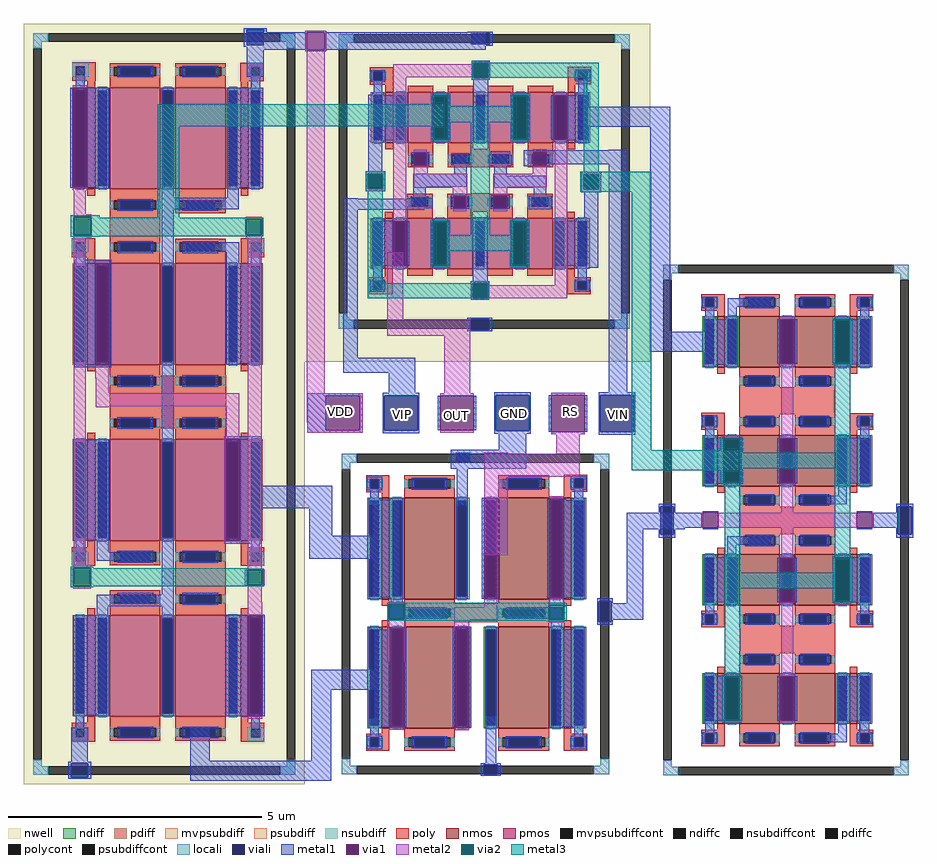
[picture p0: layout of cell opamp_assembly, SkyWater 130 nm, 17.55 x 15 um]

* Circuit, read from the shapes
.subckt opamp_assembly VDD VIP OUT GND RS VIN
XM1 PMOS_currentsource_0/D2 PMOS_currentsource_0/D2 PMOS_currentsource_0/D2 GND sky130_fd_pr__nfet_01v8 w=2 l=0.15 m=2
XM2 PMOS_currentsource_0/D1 PMOS_currentsource_0/D1 PMOS_currentsource_0/D1 GND sky130_fd_pr__nfet_01v8 w=2 l=0.15 m=2
XM3 RS PMOS_currentsource_0/D1 PMOS_currentsource_0/D2 GND sky130_fd_pr__nfet_01v8 w=2 l=1 m=2
XM4 GND PMOS_currentsource_0/D1 PMOS_currentsource_0/D1 GND sky130_fd_pr__nfet_01v8 w=2 l=1 m=2
XM5 OUT OUT OUT GND sky130_fd_pr__nfet_01v8 w=1 l=0.15 m=4
XM6 PMOS_VIN_VIP_OUT_0/D6 PMOS_VIN_VIP_OUT_0/D6 PMOS_VIN_VIP_OUT_0/D6 GND sky130_fd_pr__nfet_01v8 w=1 l=0.15 m=4
XM7 GND PMOS_VIN_VIP_OUT_0/D6 OUT GND sky130_fd_pr__nfet_01v8 w=1 l=0.8 m=4
XM8 GND PMOS_VIN_VIP_OUT_0/D6 PMOS_VIN_VIP_OUT_0/D6 GND sky130_fd_pr__nfet_01v8 w=1 l=0.8 m=4
XM9 VDD VDD VDD VDD sky130_fd_pr__pfet_01v8 w=2 l=0.15 m=2
XM10 PMOS_currentsource_0/D2 PMOS_currentsource_0/D2 PMOS_currentsource_0/D2 VDD sky130_fd_pr__pfet_01v8 w=2 l=0.15 m=2
XM11 PMOS_currentsource_0/D1 PMOS_currentsource_0/D1 PMOS_currentsource_0/D1 VDD sky130_fd_pr__pfet_01v8 w=2 l=0.15 m=2
XM12 PMOS_VIN_VIP_OUT_0/D5 PMOS_VIN_VIP_OUT_0/D5 PMOS_VIN_VIP_OUT_0/D5 VDD sky130_fd_pr__pfet_01v8 w=2 l=0.15 m=2
XM13 VDD VDD VDD VDD sky130_fd_pr__pfet_01v8 w=2 l=1 m=2
XM14 VDD PMOS_currentsource_0/D2 PMOS_currentsource_0/D2 VDD sky130_fd_pr__pfet_01v8 w=2 l=1 m=2
XM15 VDD PMOS_currentsource_0/D2 PMOS_currentsource_0/D1 VDD sky130_fd_pr__pfet_01v8 w=2 l=1 m=2
XM16 VDD PMOS_currentsource_0/D2 PMOS_VIN_VIP_OUT_0/D5 VDD sky130_fd_pr__pfet_01v8 w=2 l=1 m=2
XM17 OUT OUT OUT VDD sky130_fd_pr__pfet_01v8 w=1 l=0.15 m=2
XM18 PMOS_VIN_VIP_OUT_0/D6 PMOS_VIN_VIP_OUT_0/D6 PMOS_VIN_VIP_OUT_0/D6 VDD sky130_fd_pr__pfet_01v8 w=1 l=0.15 m=2
XM19 PMOS_VIN_VIP_OUT_0/D5 VIP OUT VDD sky130_fd_pr__pfet_01v8 w=1 l=0.5 m=4
XM20 PMOS_VIN_VIP_OUT_0/D5 VIN PMOS_VIN_VIP_OUT_0/D6 VDD sky130_fd_pr__pfet_01v8 w=1 l=0.5 m=4
.ends

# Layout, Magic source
magic
tech sky130A
magscale 1 2
<< nwell >>
rect 1080 2988 2472 2990
rect 1050 1754 2472 2988
rect 1080 1656 2472 1754
<< viali >>
rect 1422 1386 1554 1522
rect 1862 1384 1994 1524
rect 2276 1380 2408 1524
rect 2270 630 2318 712
<< metal1 >>
rect 1110 2958 1194 2964
rect 882 2888 1117 2958
rect 1187 2888 1824 2958
rect 1110 2882 1194 2888
rect 2168 2584 2552 2664
rect 2308 2492 2382 2494
rect 1974 2436 2382 2492
rect 1974 2428 2072 2436
rect 1260 2300 1318 2302
rect 1260 2256 1580 2300
rect 1260 1672 1318 2256
rect 1260 1614 1545 1672
rect 1441 1534 1545 1614
rect 2308 1536 2382 2436
rect 2472 1776 2552 2584
rect 2472 1696 2722 1776
rect 1118 1522 1338 1532
rect 1118 1386 1192 1522
rect 1326 1386 1338 1522
rect 1118 1376 1338 1386
rect 1416 1522 1560 1534
rect 1856 1524 2000 1536
rect 2270 1524 2414 1536
rect 1416 1386 1422 1522
rect 1554 1386 1560 1522
rect 1634 1386 1644 1522
rect 1776 1386 1786 1522
rect 1416 1374 1560 1386
rect 1856 1384 1862 1524
rect 1994 1384 2000 1524
rect 1856 1372 2000 1384
rect 2072 1380 2082 1524
rect 2214 1380 2224 1524
rect 2270 1380 2276 1524
rect 2408 1380 2414 1524
rect 1874 1310 1982 1372
rect 2270 1368 2414 1380
rect 1684 1234 1982 1310
rect 896 1078 1217 1168
rect 1127 969 1217 1078
rect 2379 995 2609 1061
rect 1127 879 1397 969
rect 2264 712 2324 724
rect 2264 630 2270 712
rect 2318 704 2324 712
rect 2379 704 2445 995
rect 2318 638 2445 704
rect 2318 630 2324 638
rect 2264 618 2324 630
rect 1135 363 1391 441
rect 656 81 734 216
rect 1135 81 1213 363
rect 656 3 1213 81
<< via1 >>
rect 1117 2888 1187 2958
rect 1192 1386 1326 1522
rect 1644 1386 1776 1522
rect 2082 1380 2214 1524
<< metal2 >>
rect 1110 2958 1194 2964
rect 1110 2888 1117 2958
rect 1187 2888 1194 2958
rect 1110 2882 1194 2888
rect 1117 1532 1187 2882
rect 1434 1824 1498 2090
rect 1434 1760 1762 1824
rect 1660 1532 1762 1760
rect 1117 1522 1338 1532
rect 1117 1417 1192 1522
rect 1118 1386 1192 1417
rect 1326 1386 1338 1522
rect 1118 1376 1338 1386
rect 1644 1522 1776 1532
rect 1644 1376 1776 1386
rect 2082 1524 2214 1534
rect 2082 1370 2214 1380
rect 1818 1294 1910 1298
rect 2102 1294 2194 1370
rect 1818 1202 2194 1294
rect 1818 892 1910 1202
<< metal3 >>
rect 528 2587 1655 2673
rect 528 2152 614 2587
rect 2196 2328 2477 2406
rect 2399 1307 2477 2328
rect 2399 1229 2819 1307
use NMOS_commonsourcegnd  NMOS_commonsourcegnd_0
transform 1 0 2764 0 1 137
box -258 -113 746 1903
use NMOS_RS  NMOS_RS_0
transform 1 0 1443 0 1 122
box -189 -100 867 1182
use PMOS_currentsource  PMOS_currentsource_0
transform 1 0 245 0 1 157
box -245 -167 863 2833
use PMOS_VIN_VIP_OUT  PMOS_VIN_VIP_OUT_0
transform 1 0 1377 0 1 2849
box -171 -1097 1051 137
<< labels >>
flabel via1 1250 1460 1250 1460 0 FreeSans 480 0 0 0 VDD
port 0 nsew
flabel viali 1494 1450 1494 1450 0 FreeSans 480 0 0 0 VIP
port 1 nsew
flabel via1 1708 1444 1708 1444 0 FreeSans 480 0 0 0 OUT
port 2 nsew
flabel viali 1936 1454 1936 1454 0 FreeSans 480 0 0 0 GND
port 3 nsew
flabel via1 2156 1460 2156 1460 0 FreeSans 480 0 0 0 RS
port 4 nsew
flabel viali 2348 1450 2348 1450 0 FreeSans 480 0 0 0 VIN
port 5 nsew
<< end >>

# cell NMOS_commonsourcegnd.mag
magic
tech sky130A
magscale 1 2
<< psubdiff >>
rect -241 1869 -181 1903
rect 669 1869 729 1903
rect -241 1843 -207 1869
rect 695 1843 729 1869
rect -241 -79 -207 -53
rect 695 -79 729 -53
rect -241 -113 -181 -79
rect 669 -113 729 -79
<< psubdiffcont >>
rect -181 1869 669 1903
rect -241 -53 -207 1843
rect 695 -53 729 1843
rect -181 -113 669 -79
<< poly >>
rect -90 1771 2 1787
rect -90 1737 -74 1771
rect -40 1737 2 1771
rect -90 1721 2 1737
rect -28 1703 2 1721
rect 496 1771 588 1787
rect 496 1737 538 1771
rect 572 1737 588 1771
rect 496 1721 588 1737
rect 496 1703 526 1721
rect 60 1420 220 1421
rect -90 1302 2 1318
rect 60 1312 437 1420
rect -90 1268 -74 1302
rect -40 1268 2 1302
rect -90 1252 2 1268
rect -28 1234 2 1252
rect 496 1301 588 1317
rect 496 1267 538 1301
rect 572 1267 588 1301
rect 496 1251 588 1267
rect 496 1231 526 1251
rect 60 839 438 948
rect -28 537 2 555
rect -90 521 2 537
rect -90 487 -74 521
rect -40 487 2 521
rect -90 471 2 487
rect 496 537 526 555
rect 496 521 588 537
rect 496 487 538 521
rect 572 487 588 521
rect 61 370 438 478
rect 496 471 588 487
rect 278 369 438 370
rect -28 68 2 86
rect -90 52 2 68
rect -90 18 -74 52
rect -40 18 2 52
rect -90 2 2 18
rect 496 68 526 86
rect 496 52 588 68
rect 496 18 538 52
rect 572 18 588 52
rect 496 2 588 18
<< polycont >>
rect -74 1737 -40 1771
rect 538 1737 572 1771
rect -74 1268 -40 1302
rect 538 1267 572 1301
rect -74 487 -40 521
rect 538 487 572 521
rect -74 18 -40 52
rect 538 18 572 52
<< locali >>
rect -241 1869 -181 1903
rect 669 1869 729 1903
rect -241 1843 -207 1869
rect 695 1843 729 1869
rect -90 1737 -74 1771
rect -40 1737 -24 1771
rect 522 1737 538 1771
rect 572 1737 588 1771
rect -74 1703 -39 1737
rect -74 1672 -40 1703
rect 537 1686 572 1737
rect -75 1302 -40 1303
rect -90 1268 -74 1302
rect -40 1268 -24 1302
rect -75 1234 -39 1268
rect 522 1267 538 1301
rect 572 1267 588 1301
rect -75 1206 -40 1234
rect 537 1211 572 1267
rect -75 521 -39 590
rect 538 555 572 595
rect 537 521 572 555
rect -90 487 -74 521
rect -40 487 -24 521
rect 522 487 538 521
rect 572 487 588 521
rect -74 114 -40 117
rect -74 52 -39 114
rect 537 52 572 118
rect -90 18 -74 52
rect -40 18 -24 52
rect 522 18 538 52
rect 572 18 588 52
rect -241 -79 -207 -53
rect 695 -79 729 -53
rect -241 -113 -181 -79
rect 669 -113 729 -79
<< viali >>
rect -74 1737 -40 1771
rect 538 1737 572 1771
rect -74 1268 -40 1302
rect 538 1267 572 1301
rect -252 838 -241 948
rect -241 838 -207 948
rect -207 838 -198 948
rect 686 838 695 948
rect 695 838 729 948
rect 729 838 740 948
rect -74 487 -40 521
rect 538 487 572 521
rect -74 18 -40 52
rect 538 18 572 52
<< metal1 >>
rect -86 1771 -28 1777
rect 526 1771 584 1777
rect -86 1737 -74 1771
rect -40 1737 -28 1771
rect -86 1731 -28 1737
rect 14 1737 185 1771
rect 526 1737 538 1771
rect 572 1737 584 1771
rect -74 1687 -39 1731
rect 14 1687 49 1737
rect 526 1731 584 1737
rect 537 1687 572 1731
rect -74 1685 49 1687
rect -74 1509 48 1685
rect 210 1511 220 1687
rect 278 1511 288 1687
rect 428 1511 438 1687
rect 496 1686 572 1687
rect 496 1511 571 1686
rect 451 1509 571 1511
rect -74 1508 42 1509
rect -86 1302 -28 1308
rect -86 1268 -74 1302
rect -40 1268 -28 1302
rect -86 1262 -28 1268
rect 526 1301 584 1307
rect 526 1267 538 1301
rect 572 1267 584 1301
rect -75 1219 -39 1262
rect 526 1261 584 1267
rect 537 1219 572 1261
rect -75 1217 63 1219
rect -75 1041 2 1217
rect 60 1041 70 1217
rect 210 1041 220 1217
rect 278 1041 288 1217
rect 450 1211 572 1219
rect 450 1041 570 1211
rect -75 1039 63 1041
rect 450 991 484 1041
rect -258 948 -192 960
rect 411 957 484 991
rect -258 838 -252 948
rect -198 924 -192 948
rect 680 948 746 960
rect -84 924 -24 930
rect -198 864 -84 924
rect -198 838 -192 864
rect -84 858 -24 864
rect 524 924 584 930
rect 680 924 686 948
rect 584 864 686 924
rect 524 858 584 864
rect -258 826 -192 838
rect 680 838 686 864
rect 740 838 746 948
rect 14 830 184 831
rect 13 797 184 830
rect 680 826 746 838
rect 13 749 48 797
rect -74 738 48 749
rect 450 747 570 749
rect -74 590 46 738
rect -75 571 46 590
rect 209 571 219 747
rect 277 571 287 747
rect 428 571 438 747
rect 496 595 570 747
rect 496 571 572 595
rect -75 527 -39 571
rect 537 527 572 571
rect -86 521 -28 527
rect -86 487 -74 521
rect -40 487 -28 521
rect -86 481 -28 487
rect 526 521 584 527
rect 526 487 538 521
rect 572 487 584 521
rect 526 481 584 487
rect -74 278 46 280
rect -74 102 2 278
rect 60 102 70 278
rect 210 102 220 278
rect 278 102 288 278
rect 450 118 570 279
rect -74 58 -39 102
rect 450 101 572 118
rect -86 52 -28 58
rect 450 52 484 101
rect 533 58 572 101
rect -86 18 -74 52
rect -40 18 -28 52
rect 409 18 484 52
rect 526 52 584 58
rect 526 18 538 52
rect 572 18 584 52
rect -86 12 -28 18
rect 526 12 584 18
<< via1 >>
rect 220 1511 278 1687
rect 438 1511 496 1687
rect 2 1041 60 1217
rect 220 1041 278 1217
rect -84 864 -24 924
rect 524 864 584 924
rect 219 571 277 747
rect 438 571 496 747
rect 2 102 60 278
rect 220 102 278 278
<< metal2 >>
rect 220 1687 278 1697
rect 220 1501 278 1511
rect 438 1687 496 1697
rect 438 1501 496 1511
rect 225 1227 273 1501
rect -3 1217 64 1227
rect -3 1031 64 1041
rect 220 1217 278 1227
rect 220 1031 278 1041
rect 225 924 273 1031
rect -90 864 -84 924
rect -24 864 524 924
rect 584 864 590 924
rect 225 757 273 864
rect 219 747 277 757
rect 219 561 277 571
rect 438 747 496 757
rect 438 561 496 571
rect 225 288 273 561
rect 2 278 60 288
rect 2 92 60 102
rect 220 278 278 288
rect 220 92 278 102
<< via2 >>
rect 438 1511 496 1687
rect -3 1041 2 1217
rect 2 1041 60 1217
rect 60 1041 64 1217
rect 438 571 496 747
rect 2 102 60 278
<< metal3 >>
rect 428 1687 506 1692
rect 428 1511 438 1687
rect 496 1511 506 1687
rect 428 1506 506 1511
rect -13 1217 74 1222
rect -13 1041 -3 1217
rect 64 1160 74 1217
rect 436 1160 498 1506
rect 64 1099 498 1160
rect 64 1041 74 1099
rect -13 1036 74 1041
rect 2 687 64 1036
rect 436 752 498 1099
rect 428 747 506 752
rect 428 687 438 747
rect 2 626 438 687
rect 2 283 64 626
rect 428 571 438 626
rect 496 571 506 747
rect 428 566 506 571
rect -8 278 70 283
rect -8 102 2 278
rect 60 102 70 278
rect -8 97 70 102
use sky130_fd_pr__nfet_01v8_5MNGEB  sky130_fd_pr__nfet_01v8_5MNGEB_0
transform 1 0 249 0 1 1599
box -247 -188 247 188
use sky130_fd_pr__nfet_01v8_5MNGEB  sky130_fd_pr__nfet_01v8_5MNGEB_1
transform 1 0 249 0 1 190
box -247 -188 247 188
use sky130_fd_pr__nfet_01v8_5MNGEB  sky130_fd_pr__nfet_01v8_5MNGEB_2
transform 1 0 249 0 1 659
box -247 -188 247 188
use sky130_fd_pr__nfet_01v8_5MNGEB  sky130_fd_pr__nfet_01v8_5MNGEB_3
transform 1 0 249 0 1 1129
box -247 -188 247 188
use sky130_fd_pr__nfet_01v8_6H9P4D  sky130_fd_pr__nfet_01v8_6H9P4D_0
transform 1 0 -13 0 1 190
box -73 -126 73 126
use sky130_fd_pr__nfet_01v8_6H9P4D  sky130_fd_pr__nfet_01v8_6H9P4D_1
transform 1 0 511 0 1 1599
box -73 -126 73 126
use sky130_fd_pr__nfet_01v8_6H9P4D  sky130_fd_pr__nfet_01v8_6H9P4D_2
transform 1 0 511 0 1 1129
box -73 -126 73 126
use sky130_fd_pr__nfet_01v8_6H9P4D  sky130_fd_pr__nfet_01v8_6H9P4D_3
transform 1 0 511 0 1 659
box -73 -126 73 126
use sky130_fd_pr__nfet_01v8_6H9P4D  sky130_fd_pr__nfet_01v8_6H9P4D_4
transform 1 0 511 0 1 190
box -73 -126 73 126
use sky130_fd_pr__nfet_01v8_6H9P4D  sky130_fd_pr__nfet_01v8_6H9P4D_5
transform 1 0 -13 0 1 1599
box -73 -126 73 126
use sky130_fd_pr__nfet_01v8_6H9P4D  sky130_fd_pr__nfet_01v8_6H9P4D_6
transform 1 0 -13 0 1 1129
box -73 -126 73 126
use sky130_fd_pr__nfet_01v8_6H9P4D  sky130_fd_pr__nfet_01v8_6H9P4D_7
transform 1 0 -13 0 1 659
box -73 -126 73 126
<< labels >>
flabel metal1 -52 1578 -52 1578 0 FreeSans 320 0 0 0 D8
port 0 nsew
flabel metal3 474 1364 474 1364 0 FreeSans 320 0 0 0 OUT
port 1 nsew
flabel metal1 -132 890 -132 890 0 FreeSans 320 0 0 0 GND
port 2 nsew
<< end >>

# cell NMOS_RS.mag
magic
tech sky130A
magscale 1 2
<< mvpsubdiff >>
rect -189 1137 -129 1171
rect 807 1137 867 1171
rect -189 1111 -155 1137
rect 833 1111 867 1137
rect -189 -59 -155 -33
rect 833 -59 867 -33
rect -189 -93 -129 -59
rect 807 -93 867 -59
<< mvpsubdiffcont >>
rect -129 1137 807 1171
rect -189 -33 -155 1111
rect 833 -33 867 1111
rect -129 -93 807 -59
<< poly >>
rect -92 1070 0 1086
rect -92 1036 -76 1070
rect -42 1036 0 1070
rect -92 1020 0 1036
rect -30 1006 0 1020
rect 688 1072 780 1088
rect 688 1038 730 1072
rect 764 1038 780 1072
rect 688 1022 780 1038
rect 688 1018 716 1022
rect 58 506 632 582
rect -30 66 0 80
rect -92 50 0 66
rect -92 16 -76 50
rect -42 16 0 50
rect -92 0 0 16
rect 688 66 718 80
rect 688 50 780 66
rect 688 16 730 50
rect 764 16 780 50
rect 688 0 780 16
<< polycont >>
rect -76 1036 -42 1070
rect 730 1038 764 1072
rect -76 16 -42 50
rect 730 16 764 50
<< locali >>
rect -189 1137 -129 1171
rect 807 1137 867 1171
rect -189 1111 -155 1137
rect 833 1111 867 1137
rect -92 1036 -76 1070
rect -42 1036 -26 1070
rect 714 1038 730 1072
rect 764 1038 780 1072
rect -76 970 -42 1036
rect 730 970 764 1038
rect -76 50 -42 126
rect 730 50 764 120
rect -92 16 -76 50
rect -42 16 -26 50
rect 714 16 730 50
rect 764 16 780 50
rect -189 -59 -155 -33
rect 833 -59 867 -33
rect -189 -93 -129 -59
rect 807 -93 867 -59
<< viali >>
rect 262 1171 318 1176
rect 262 1138 318 1171
rect -76 1036 -42 1070
rect 730 1038 764 1072
rect -76 16 -42 50
rect 730 16 764 50
rect 372 -59 428 -56
rect 372 -93 428 -59
rect 372 -94 428 -93
<< metal1 >>
rect 250 1176 330 1182
rect 250 1138 262 1176
rect 318 1138 330 1176
rect 250 1132 330 1138
rect -90 1070 -28 1080
rect -90 1036 -76 1070
rect -42 1036 -28 1070
rect -90 1028 -28 1036
rect -76 990 -42 1028
rect -76 970 40 990
rect -66 612 40 970
rect 266 968 310 1132
rect 716 1072 778 1082
rect 716 1038 730 1072
rect 764 1038 778 1072
rect 716 1030 778 1038
rect -66 606 52 612
rect 6 566 52 606
rect 364 600 374 998
rect 426 600 436 998
rect 622 602 632 994
rect 686 988 696 994
rect 730 988 764 1030
rect 686 604 764 988
rect 686 602 696 604
rect 0 520 204 566
rect 580 564 682 566
rect 578 522 684 564
rect 578 520 682 522
rect -8 476 2 484
rect -60 126 2 476
rect -76 92 2 126
rect 56 92 66 484
rect -76 58 -42 92
rect 250 90 260 488
rect 312 90 322 488
rect 636 478 682 520
rect 636 476 764 478
rect -90 50 -28 58
rect -90 16 -76 50
rect -42 16 -28 50
rect -90 6 -28 16
rect 380 -50 422 136
rect 658 94 764 476
rect 730 58 764 94
rect 716 50 778 58
rect 716 16 730 50
rect 764 16 778 50
rect 716 6 778 16
rect 360 -56 440 -50
rect 360 -94 372 -56
rect 428 -94 440 -56
rect 360 -100 440 -94
<< via1 >>
rect 374 600 426 998
rect 632 602 686 994
rect 2 92 56 484
rect 260 90 312 488
<< metal2 >>
rect 374 998 426 1008
rect -3 584 59 588
rect -8 579 64 584
rect -8 517 -3 579
rect 59 517 64 579
rect 374 566 426 600
rect 632 994 686 1004
rect 632 586 686 602
rect -8 484 64 517
rect -8 350 2 484
rect 56 350 64 484
rect 256 516 426 566
rect 628 576 690 586
rect 256 488 314 516
rect 628 506 690 516
rect 256 470 260 488
rect 2 82 56 92
rect 312 470 314 488
rect 260 80 312 90
<< via2 >>
rect -3 517 59 579
rect 628 516 690 576
<< metal3 >>
rect -8 582 698 584
rect -8 579 700 582
rect -8 517 -3 579
rect 59 576 700 579
rect 59 517 628 576
rect -8 516 628 517
rect 690 516 700 576
rect -8 512 700 516
rect 618 511 700 512
use sky130_fd_pr__nfet_01v8_EH54LQ  sky130_fd_pr__nfet_01v8_EH54LQ_0
transform 1 0 530 0 1 543
box -158 -543 158 543
use sky130_fd_pr__nfet_01v8_EH54LQ  sky130_fd_pr__nfet_01v8_EH54LQ_1
transform 1 0 158 0 1 543
box -158 -543 158 543
use sky130_fd_pr__nfet_01v8_TC9PLT  sky130_fd_pr__nfet_01v8_TC9PLT_0
transform 1 0 -15 0 1 798
box -73 -226 73 226
use sky130_fd_pr__nfet_01v8_TC9PLT  sky130_fd_pr__nfet_01v8_TC9PLT_1
transform 1 0 703 0 1 288
box -73 -226 73 226
use sky130_fd_pr__nfet_01v8_TC9PLT  sky130_fd_pr__nfet_01v8_TC9PLT_2
transform 1 0 703 0 1 798
box -73 -226 73 226
use sky130_fd_pr__nfet_01v8_TC9PLT  sky130_fd_pr__nfet_01v8_TC9PLT_3
transform 1 0 -15 0 1 288
box -73 -226 73 226
<< labels >>
flabel metal2 s 344 540 344 540 0 FreeSans 800 0 0 0 RS
port 0 nsew
flabel metal1 s 294 1066 294 1066 0 FreeSans 800 0 0 0 GND
port 1 nsew
flabel metal1 s 120 534 120 534 0 FreeSans 800 0 0 0 D3
port 2 nsew
flabel metal3 s 572 572 572 572 0 FreeSans 800 0 0 0 D4
port 3 nsew
<< end >>

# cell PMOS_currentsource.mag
magic
tech sky130A
magscale 1 2
<< nwell >>
rect -245 -167 863 2833
<< nsubdiff >>
rect -209 2763 -149 2797
rect 767 2763 827 2797
rect -209 2737 -175 2763
rect 793 2737 827 2763
rect -209 -97 -175 -71
rect 793 -97 827 -71
rect -209 -131 -149 -97
rect 767 -131 827 -97
<< nsubdiffcont >>
rect -149 2763 767 2797
rect -209 -71 -175 2737
rect 793 -71 827 2737
rect -149 -131 767 -97
<< poly >>
rect -55 2664 38 2682
rect -55 2630 -39 2664
rect -5 2630 38 2664
rect -55 2608 38 2630
rect 609 2663 702 2681
rect 609 2629 652 2663
rect 686 2629 702 2663
rect 609 2607 702 2629
rect -56 1969 37 1987
rect 94 1982 294 2088
rect -56 1935 -40 1969
rect -6 1935 37 1969
rect -56 1913 37 1935
rect 610 1969 703 1987
rect 610 1935 653 1969
rect 687 1935 703 1969
rect 610 1913 703 1935
rect 94 1238 554 1444
rect -56 746 37 768
rect -56 712 -40 746
rect -6 712 37 746
rect -56 694 37 712
rect 610 746 703 768
rect 610 712 653 746
rect 687 712 703 746
rect 352 594 552 700
rect 610 694 703 712
rect -57 52 36 74
rect -57 18 -41 52
rect -7 18 36 52
rect -57 0 36 18
rect 610 52 703 74
rect 610 18 653 52
rect 687 18 703 52
rect 610 0 703 18
<< polycont >>
rect -39 2630 -5 2664
rect 652 2629 686 2663
rect -40 1935 -6 1969
rect 653 1935 687 1969
rect -40 712 -6 746
rect 653 712 687 746
rect -41 18 -7 52
rect 653 18 687 52
<< locali >>
rect -209 2763 -149 2797
rect 767 2763 827 2797
rect -209 2737 -175 2763
rect 793 2737 827 2763
rect -55 2664 11 2681
rect -55 2630 -39 2664
rect -5 2630 11 2664
rect -55 2625 11 2630
rect 636 2663 702 2680
rect 636 2629 652 2663
rect 686 2629 702 2663
rect -40 2606 -3 2625
rect 636 2624 702 2629
rect -40 2570 -6 2606
rect 650 2570 687 2624
rect -56 1969 10 1986
rect -56 1935 -40 1969
rect -6 1935 10 1969
rect -56 1930 10 1935
rect 637 1969 703 1986
rect 637 1935 653 1969
rect 687 1935 703 1969
rect 637 1930 703 1935
rect -41 1911 -4 1930
rect -40 1873 -6 1911
rect 651 1858 688 1930
rect -40 770 -6 806
rect 652 770 686 806
rect -41 751 -4 770
rect 651 751 688 770
rect -56 746 10 751
rect -56 712 -40 746
rect -6 712 10 746
rect -56 695 10 712
rect 637 746 703 751
rect 637 712 653 746
rect 687 712 703 746
rect 637 695 703 712
rect -40 76 -6 112
rect 652 76 686 112
rect -42 57 -5 76
rect 651 57 688 76
rect -57 52 9 57
rect -57 18 -41 52
rect -7 18 9 52
rect -57 1 9 18
rect 637 52 703 57
rect 637 18 653 52
rect 687 18 703 52
rect 637 1 703 18
rect -209 -97 -175 -71
rect 793 -97 827 -71
rect -209 -131 -149 -97
rect 767 -131 827 -97
<< viali >>
rect 634 2797 702 2810
rect 634 2763 702 2797
rect 634 2750 702 2763
rect 306 2194 340 2570
rect 306 1500 340 1876
rect 306 806 340 1182
rect 306 112 340 488
rect -58 -97 8 -86
rect -58 -131 8 -97
rect -58 -140 8 -131
<< metal1 >>
rect 622 2810 714 2816
rect 622 2750 634 2810
rect 702 2750 714 2810
rect 622 2744 714 2750
rect -40 2582 -4 2667
rect 634 2624 702 2744
rect 44 2582 86 2584
rect 652 2582 688 2624
rect -62 2186 -52 2582
rect 6 2186 90 2582
rect 300 2570 346 2574
rect 300 2194 306 2570
rect 340 2194 346 2570
rect 300 2147 346 2194
rect 558 2186 700 2582
rect 558 2147 604 2186
rect 300 2101 604 2147
rect -41 1902 -7 1971
rect -46 1888 100 1902
rect -46 1486 36 1888
rect 92 1486 100 1888
rect -46 1478 100 1486
rect 300 1876 346 2101
rect 390 1934 606 1972
rect 300 1500 306 1876
rect 340 1500 346 1876
rect -52 796 90 1192
rect -40 712 -6 796
rect 42 748 90 796
rect 300 1182 346 1500
rect 554 1888 606 1934
rect 652 1888 687 1969
rect 554 1492 696 1888
rect 300 806 306 1182
rect 340 806 346 1182
rect 42 714 254 748
rect 300 581 346 806
rect 546 1196 692 1206
rect 546 794 552 1196
rect 608 794 692 1196
rect 546 782 692 794
rect 653 711 686 782
rect 42 535 346 581
rect 42 500 88 535
rect -50 104 92 500
rect 300 488 346 535
rect 300 112 306 488
rect 340 112 346 488
rect 300 108 346 112
rect 550 500 704 502
rect -40 56 -8 104
rect 44 102 84 104
rect 550 100 638 500
rect 696 100 706 500
rect -58 -80 8 56
rect 652 18 686 100
rect -70 -86 20 -80
rect -70 -140 -58 -86
rect 8 -140 20 -86
rect -70 -146 20 -140
<< via1 >>
rect -52 2186 6 2582
rect 36 1486 92 1888
rect 552 794 608 1196
rect 638 100 696 500
<< metal2 >>
rect -52 2582 6 2592
rect -52 2176 6 2186
rect -48 2082 0 2176
rect -48 2072 20 2082
rect -48 1988 20 1998
rect 630 2064 694 2073
rect 630 1991 694 2000
rect -48 696 0 1988
rect 36 1888 92 1898
rect 36 1476 92 1486
rect 36 1434 90 1476
rect 38 1376 90 1434
rect 38 1324 606 1376
rect 38 1320 90 1324
rect 554 1206 606 1324
rect 546 1196 608 1206
rect 546 794 552 1196
rect 546 782 608 794
rect -50 686 18 696
rect 638 678 694 1991
rect 627 618 636 678
rect 696 618 705 678
rect -50 604 18 614
rect 638 548 694 618
rect 638 500 696 548
rect 638 90 696 100
<< via2 >>
rect -48 1998 20 2072
rect 630 2000 694 2064
rect -50 614 18 686
rect 636 618 696 678
<< metal3 >>
rect -60 2074 52 2078
rect -60 2072 54 2074
rect -60 1998 -48 2072
rect 20 2069 54 2072
rect 20 2064 699 2069
rect 20 2000 630 2064
rect 694 2000 699 2064
rect 20 1998 699 2000
rect -60 1995 699 1998
rect -60 1994 52 1995
rect -58 1993 30 1994
rect -60 686 28 691
rect -60 614 -50 686
rect 18 684 28 686
rect 18 683 636 684
rect 18 678 701 683
rect 18 618 636 678
rect 696 618 701 678
rect 18 614 701 618
rect -60 609 28 614
rect 631 613 701 614
use sky130_fd_pr__pfet_01v8_2ZH9AN  sky130_fd_pr__pfet_01v8_2ZH9AN_0
transform 1 0 625 0 1 994
box -109 -262 109 262
use sky130_fd_pr__pfet_01v8_2ZH9AN  sky130_fd_pr__pfet_01v8_2ZH9AN_1
transform 1 0 21 0 1 2382
box -109 -262 109 262
use sky130_fd_pr__pfet_01v8_2ZH9AN  sky130_fd_pr__pfet_01v8_2ZH9AN_2
transform 1 0 625 0 1 2382
box -109 -262 109 262
use sky130_fd_pr__pfet_01v8_2ZH9AN  sky130_fd_pr__pfet_01v8_2ZH9AN_3
transform 1 0 625 0 1 1688
box -109 -262 109 262
use sky130_fd_pr__pfet_01v8_2ZH9AN  sky130_fd_pr__pfet_01v8_2ZH9AN_4
transform 1 0 21 0 1 1688
box -109 -262 109 262
use sky130_fd_pr__pfet_01v8_2ZH9AN  sky130_fd_pr__pfet_01v8_2ZH9AN_5
transform 1 0 21 0 1 300
box -109 -262 109 262
use sky130_fd_pr__pfet_01v8_2ZH9AN  sky130_fd_pr__pfet_01v8_2ZH9AN_6
transform 1 0 21 0 1 994
box -109 -262 109 262
use sky130_fd_pr__pfet_01v8_2ZH9AN  sky130_fd_pr__pfet_01v8_2ZH9AN_7
transform 1 0 625 0 1 300
box -109 -262 109 262
use sky130_fd_pr__pfet_01v8_SDE6B7  sky130_fd_pr__pfet_01v8_SDE6B7_0
transform 1 0 323 0 1 300
box -323 -300 323 300
use sky130_fd_pr__pfet_01v8_SDE6B7  sky130_fd_pr__pfet_01v8_SDE6B7_1
transform 1 0 323 0 1 2382
box -323 -300 323 300
use sky130_fd_pr__pfet_01v8_SDE6B7  sky130_fd_pr__pfet_01v8_SDE6B7_2
transform 1 0 323 0 1 1688
box -323 -300 323 300
use sky130_fd_pr__pfet_01v8_SDE6B7  sky130_fd_pr__pfet_01v8_SDE6B7_3
transform 1 0 323 0 1 994
box -323 -300 323 300
<< labels >>
flabel metal1 662 2706 662 2706 0 FreeSans 800 0 0 0 VDD
port 0 nsew
flabel metal1 580 1926 580 1926 0 FreeSans 800 0 0 0 D2
port 1 nsew
flabel metal2 60 1346 60 1346 0 FreeSans 800 0 0 0 D1
port 2 nsew
flabel metal2 664 1314 664 1314 0 FreeSans 800 0 0 0 D5
port 3 nsew
<< end >>

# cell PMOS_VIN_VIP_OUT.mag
magic
tech sky130A
magscale 1 2
<< nwell >>
rect -171 -1097 1051 137
<< nsubdiff >>
rect -135 67 -75 101
rect 955 67 1015 101
rect -135 41 -101 67
rect 981 41 1015 67
rect -135 -1027 -101 -1001
rect 981 -1027 1015 -1001
rect -135 -1061 -75 -1027
rect 955 -1061 1015 -1027
<< nsubdiffcont >>
rect -75 67 955 101
rect -135 -1001 -101 41
rect 981 -1001 1015 41
rect -75 -1061 955 -1027
<< poly >>
rect -12 -47 80 -30
rect -12 -81 4 -47
rect 38 -81 80 -47
rect -12 -98 80 -81
rect 50 -116 80 -98
rect 770 -45 862 -28
rect 770 -79 812 -45
rect 846 -79 862 -45
rect 770 -96 862 -79
rect 770 -114 800 -96
rect 388 -424 460 -352
rect 386 -600 458 -528
rect 48 -858 78 -840
rect -14 -875 78 -858
rect -14 -909 2 -875
rect 36 -909 78 -875
rect -14 -926 78 -909
rect 768 -858 798 -840
rect 768 -875 860 -858
rect 768 -909 810 -875
rect 844 -909 860 -875
rect 768 -926 860 -909
<< polycont >>
rect 4 -81 38 -47
rect 812 -79 846 -45
rect 2 -909 36 -875
rect 810 -909 844 -875
<< locali >>
rect -135 67 -75 101
rect 955 67 1015 101
rect -135 41 -101 67
rect 981 41 1015 67
rect 4 -47 38 -46
rect -12 -81 4 -47
rect 38 -81 54 -47
rect 796 -79 812 -45
rect 846 -79 862 -45
rect 4 -154 38 -81
rect 812 -160 846 -79
rect 2 -875 36 -798
rect 810 -875 844 -790
rect -14 -909 2 -875
rect 36 -909 52 -875
rect 794 -909 810 -875
rect 844 -909 860 -875
rect 2 -910 36 -909
rect -135 -1027 -101 -1001
rect 981 -1027 1015 -1001
rect -135 -1061 -75 -1027
rect 955 -1061 1015 -1027
<< viali >>
rect 388 101 462 104
rect 388 67 462 101
rect 388 62 462 67
rect 4 -81 38 -47
rect 812 -79 846 -45
rect 2 -909 36 -875
rect 810 -909 844 -875
rect 386 -1027 460 -1024
rect 386 -1061 460 -1027
rect 386 -1066 460 -1061
<< metal1 >>
rect 376 104 474 110
rect 376 62 388 104
rect 462 62 474 104
rect 376 56 474 62
rect 390 -12 462 -4
rect -8 -47 50 -41
rect -8 -81 4 -47
rect 38 -81 50 -47
rect 390 -72 396 -12
rect 456 -18 462 -12
rect 458 -70 462 -18
rect 456 -72 462 -70
rect 390 -80 462 -72
rect 800 -45 858 -39
rect 800 -79 812 -45
rect 846 -79 858 -45
rect -8 -87 50 -81
rect 4 -138 38 -87
rect -18 -140 44 -138
rect -18 -318 128 -140
rect 232 -316 242 -140
rect 294 -316 304 -140
rect -18 -440 38 -318
rect 396 -322 456 -80
rect 800 -85 858 -79
rect 812 -140 846 -85
rect 546 -316 556 -140
rect 608 -316 618 -140
rect 704 -316 714 -140
rect 768 -316 848 -140
rect 724 -318 848 -316
rect 152 -418 162 -366
rect 214 -418 224 -366
rect 310 -416 382 -370
rect 466 -376 542 -362
rect -28 -452 50 -440
rect 321 -451 371 -416
rect 458 -418 548 -376
rect 622 -418 632 -364
rect 686 -368 696 -364
rect 686 -416 698 -368
rect 686 -418 696 -416
rect -28 -508 -18 -452
rect 38 -508 50 -452
rect -28 -520 50 -508
rect 160 -501 371 -451
rect 480 -458 528 -418
rect 824 -454 902 -442
rect 160 -540 210 -501
rect 480 -506 684 -458
rect 314 -536 372 -530
rect 150 -546 222 -540
rect 136 -586 236 -546
rect 308 -588 318 -536
rect 370 -588 380 -536
rect 466 -588 476 -534
rect 530 -588 540 -534
rect 636 -536 684 -506
rect 824 -510 834 -454
rect 890 -510 902 -454
rect 824 -524 902 -510
rect 616 -590 706 -536
rect 0 -638 124 -636
rect 0 -814 80 -638
rect 134 -814 144 -638
rect 230 -814 240 -638
rect 292 -814 302 -638
rect 2 -869 36 -814
rect -10 -875 48 -869
rect 394 -874 454 -622
rect 834 -636 890 -524
rect 544 -814 554 -638
rect 606 -814 616 -638
rect 720 -814 890 -636
rect 810 -822 890 -814
rect 810 -869 844 -822
rect -10 -909 2 -875
rect 36 -909 48 -875
rect -10 -915 48 -909
rect 386 -882 460 -874
rect 386 -942 394 -882
rect 454 -942 460 -882
rect 798 -875 856 -869
rect 798 -909 810 -875
rect 844 -909 856 -875
rect 798 -915 856 -909
rect 386 -948 460 -942
rect 374 -1024 472 -1018
rect 374 -1066 386 -1024
rect 460 -1066 472 -1024
rect 374 -1072 472 -1066
<< via1 >>
rect 396 -18 456 -12
rect 396 -70 458 -18
rect 396 -72 456 -70
rect 242 -316 294 -140
rect 556 -316 608 -140
rect 714 -316 768 -140
rect 162 -418 214 -366
rect 632 -418 686 -364
rect -18 -508 38 -452
rect 318 -588 370 -536
rect 476 -588 530 -534
rect 834 -510 890 -454
rect 80 -814 134 -638
rect 240 -814 292 -638
rect 554 -814 606 -638
rect 394 -942 454 -882
<< metal2 >>
rect 390 -12 462 -4
rect 390 -18 396 -12
rect 80 -70 396 -18
rect 456 -18 462 -12
rect 458 -70 464 -18
rect -28 -450 50 -440
rect -28 -510 -20 -450
rect 40 -510 50 -450
rect -28 -520 50 -510
rect 80 -628 132 -70
rect 390 -72 396 -70
rect 456 -72 462 -70
rect 390 -80 462 -72
rect 240 -140 296 -130
rect 240 -326 296 -316
rect 554 -140 610 -130
rect 554 -326 610 -316
rect 714 -140 768 -130
rect 714 -326 768 -316
rect 162 -366 214 -356
rect 632 -363 686 -354
rect 632 -364 687 -363
rect 214 -418 218 -368
rect 162 -450 218 -418
rect 686 -418 687 -364
rect 632 -450 687 -418
rect 162 -506 374 -450
rect 316 -536 374 -506
rect 316 -580 318 -536
rect 370 -580 374 -536
rect 476 -504 687 -450
rect 476 -534 530 -504
rect 370 -586 372 -580
rect 318 -598 370 -588
rect 476 -598 530 -588
rect 80 -638 134 -628
rect 80 -824 134 -814
rect 238 -638 294 -628
rect 238 -824 294 -814
rect 552 -638 608 -628
rect 552 -824 608 -814
rect 386 -882 460 -874
rect 386 -942 394 -882
rect 454 -891 460 -882
rect 718 -891 768 -326
rect 824 -452 902 -442
rect 824 -512 832 -452
rect 892 -512 902 -452
rect 824 -524 902 -512
rect 454 -941 768 -891
rect 454 -942 460 -941
rect 386 -948 460 -942
<< via2 >>
rect 398 -70 454 -14
rect -20 -452 40 -450
rect -20 -508 -18 -452
rect -18 -508 38 -452
rect 38 -508 40 -452
rect -20 -510 40 -508
rect 240 -316 242 -140
rect 242 -316 294 -140
rect 294 -316 296 -140
rect 554 -316 556 -140
rect 556 -316 608 -140
rect 608 -316 610 -140
rect 238 -814 240 -638
rect 240 -814 292 -638
rect 292 -814 294 -638
rect 552 -814 554 -638
rect 554 -814 606 -638
rect 606 -814 608 -638
rect 396 -940 452 -884
rect 832 -454 892 -452
rect 832 -510 834 -454
rect 834 -510 890 -454
rect 890 -510 892 -454
rect 832 -512 892 -510
<< metal3 >>
rect 390 -12 462 -4
rect 390 -14 892 -12
rect 390 -70 398 -14
rect 454 -70 892 -14
rect 390 -72 892 -70
rect 390 -80 462 -72
rect 230 -140 306 -135
rect 230 -316 240 -140
rect 296 -184 306 -140
rect 544 -140 620 -135
rect 544 -184 554 -140
rect 296 -246 554 -184
rect 296 -316 306 -246
rect 230 -321 306 -316
rect -28 -450 50 -440
rect -28 -510 -20 -450
rect 40 -510 50 -450
rect -28 -520 50 -510
rect -20 -882 40 -520
rect 228 -638 304 -633
rect 228 -814 238 -638
rect 294 -692 304 -638
rect 386 -692 462 -246
rect 544 -316 554 -246
rect 610 -316 620 -140
rect 544 -321 620 -316
rect 832 -442 892 -72
rect 824 -452 902 -442
rect 824 -512 832 -452
rect 892 -512 902 -452
rect 824 -524 902 -512
rect 542 -638 618 -633
rect 542 -692 552 -638
rect 294 -754 552 -692
rect 294 -814 304 -754
rect 228 -819 304 -814
rect 542 -814 552 -754
rect 608 -814 618 -638
rect 542 -819 618 -814
rect 386 -882 460 -874
rect -20 -884 460 -882
rect -20 -940 396 -884
rect 452 -940 460 -884
rect -20 -942 460 -940
rect 386 -948 460 -942
use sky130_fd_pr__pfet_01v8_2XUZHN  sky130_fd_pr__pfet_01v8_2XUZHN_0
transform 1 0 63 0 1 -726
box -109 -162 109 162
use sky130_fd_pr__pfet_01v8_2XUZHN  sky130_fd_pr__pfet_01v8_2XUZHN_1
transform 1 0 65 0 1 -228
box -109 -162 109 162
use sky130_fd_pr__pfet_01v8_2XUZHN  sky130_fd_pr__pfet_01v8_2XUZHN_2
transform 1 0 783 0 1 -726
box -109 -162 109 162
use sky130_fd_pr__pfet_01v8_2XUZHN  sky130_fd_pr__pfet_01v8_2XUZHN_3
transform 1 0 785 0 1 -228
box -109 -162 109 162
use sky130_fd_pr__pfet_01v8_4TGZK8  sky130_fd_pr__pfet_01v8_4TGZK8_0
transform 1 0 660 0 1 -690
box -144 -198 144 164
use sky130_fd_pr__pfet_01v8_4TGZK8  sky130_fd_pr__pfet_01v8_4TGZK8_1
transform 1 0 502 0 1 -690
box -144 -198 144 164
use sky130_fd_pr__pfet_01v8_4TGZK8  sky130_fd_pr__pfet_01v8_4TGZK8_2
transform 1 0 344 0 1 -690
box -144 -198 144 164
use sky130_fd_pr__pfet_01v8_4TGZK8  sky130_fd_pr__pfet_01v8_4TGZK8_3
transform 1 0 186 0 1 -690
box -144 -198 144 164
use sky130_fd_pr__pfet_01v8_7WEZ7N  sky130_fd_pr__pfet_01v8_7WEZ7N_0
transform 1 0 346 0 1 -264
box -144 -164 144 198
use sky130_fd_pr__pfet_01v8_7WEZ7N  sky130_fd_pr__pfet_01v8_7WEZ7N_1
transform 1 0 188 0 1 -264
box -144 -164 144 198
use sky130_fd_pr__pfet_01v8_7WEZ7N  sky130_fd_pr__pfet_01v8_7WEZ7N_2
transform 1 0 662 0 1 -264
box -144 -164 144 198
use sky130_fd_pr__pfet_01v8_7WEZ7N  sky130_fd_pr__pfet_01v8_7WEZ7N_3
transform 1 0 504 0 1 -264
box -144 -164 144 198
<< labels >>
flabel metal1 190 -520 190 -520 0 FreeSans 480 0 0 0 VIP
port 0 nsew
flabel metal2 652 -438 652 -438 0 FreeSans 480 0 0 0 VIN
port 1 nsew
flabel viali 434 78 434 78 0 FreeSans 480 0 0 0 VDD
port 2 nsew
flabel metal1 4 -390 4 -390 0 FreeSans 480 0 0 0 D6
port 3 nsew
flabel metal3 860 -396 860 -396 0 FreeSans 480 0 0 0 OUT
port 4 nsew
flabel metal3 340 -218 340 -218 0 FreeSans 480 0 0 0 D5
port 5 nsew
<< end >>

# cell sky130_fd_pr__pfet_01v8_2XUZHN: kit device sky130_fd_pr__pfet_01v8, w 1 l 0.15 m 1 nf 1 diffcov 100 polycov 100 guard 0 glc 1 grc 1 gtc 1 gbc 1 tbcov 100 rlcov 100 topc 0 botc 0 poverlap 0 doverlap 1 lmin 0.15 wmin 0.42 compatible {sky130_fd_pr__pfet_01v8 sky130_fd_pr__pfet_01v8_lvt sky130_fd_pr__pfet_01v8_hvt sky130_fd_pr__pfet_g5v0d10v5} full_metal 1 viasrc 100 viadrn 100 viagate 100 viagb 0 viagr 0 viagl 0 viagt 0

# cell sky130_fd_pr__pfet_01v8_4TGZK8: kit device sky130_fd_pr__pfet_01v8, w 1 l 0.5 m 1 nf 1 diffcov 100 polycov 100 guard 0 glc 1 grc 1 gtc 1 gbc 1 tbcov 100 rlcov 100 topc 1 botc 0 poverlap 0 doverlap 1 lmin 0.15 wmin 0.42 compatible {sky130_fd_pr__pfet_01v8 sky130_fd_pr__pfet_01v8_lvt sky130_fd_pr__pfet_01v8_hvt sky130_fd_pr__pfet_g5v0d10v5} full_metal 1 viasrc 100 viadrn 100 viagate 70 viagb 0 viagr 0 viagl 0 viagt 0

# cell sky130_fd_pr__pfet_01v8_7WEZ7N: kit device sky130_fd_pr__pfet_01v8, w 1 l 0.5 m 1 nf 1 diffcov 100 polycov 100 guard 0 glc 1 grc 1 gtc 1 gbc 1 tbcov 100 rlcov 100 topc 0 botc 1 poverlap 0 doverlap 1 lmin 0.15 wmin 0.42 compatible {sky130_fd_pr__pfet_01v8 sky130_fd_pr__pfet_01v8_lvt sky130_fd_pr__pfet_01v8_hvt sky130_fd_pr__pfet_g5v0d10v5} full_metal 1 viasrc 100 viadrn 100 viagate 70 viagb 0 viagr 0 viagl 0 viagt 0

# cell sky130_fd_pr__pfet_01v8_2ZH9AN: kit device sky130_fd_pr__pfet_01v8, w 2 l 0.15 m 1 nf 1 diffcov 100 polycov 100 guard 0 glc 1 grc 1 gtc 1 gbc 1 tbcov 100 rlcov 100 topc 0 botc 0 poverlap 0 doverlap 1 lmin 0.15 wmin 0.42 compatible {sky130_fd_pr__pfet_01v8 sky130_fd_pr__pfet_01v8_lvt sky130_fd_pr__pfet_01v8_hvt sky130_fd_pr__pfet_g5v0d10v5} full_metal 1 viasrc 100 viadrn 100 viagate 100 viagb 0 viagr 0 viagl 0 viagt 0

# cell sky130_fd_pr__pfet_01v8_SDE6B7: kit device sky130_fd_pr__pfet_01v8, w 2 l 1 m 1 nf 2 diffcov 100 polycov 100 guard 0 glc 1 grc 1 gtc 1 gbc 1 tbcov 100 rlcov 100 topc 1 botc 1 poverlap 0 doverlap 1 lmin 0.15 wmin 0.42 compatible {sky130_fd_pr__pfet_01v8 sky130_fd_pr__pfet_01v8_lvt sky130_fd_pr__pfet_01v8_hvt sky130_fd_pr__pfet_g5v0d10v5} full_metal 1 viasrc 100 viadrn 100 viagate 70 viagb 0 viagr 0 viagl 0 viagt 0

# cell sky130_fd_pr__nfet_01v8_EH54LQ: kit device sky130_fd_pr__nfet_01v8, w 2 l 1 m 2 nf 1 diffcov 100 polycov 100 guard 0 glc 1 grc 1 gtc 1 gbc 1 tbcov 100 rlcov 100 topc 1 botc 1 poverlap 1 doverlap 0 lmin 0.15 wmin 0.42 compatible {sky130_fd_pr__nfet_01v8 sky130_fd_pr__nfet_01v8_lvt sky130_fd_bs_flash__special_sonosfet_star sky130_fd_pr__nfet_g5v0d10v5 sky130_fd_pr__nfet_05v0_nvt sky130_fd_pr__nfet_03v3_nvt} full_metal 1 viasrc 100 viadrn 100 viagate 70 viagb 0 viagr 0 viagl 0 viagt 0

# cell sky130_fd_pr__nfet_01v8_TC9PLT: kit device sky130_fd_pr__nfet_01v8, w 2 l 0.150 m 1 nf 1 diffcov 100 polycov 100 guard 0 glc 1 grc 1 gtc 1 gbc 1 tbcov 100 rlcov 100 topc 0 botc 0 poverlap 0 doverlap 1 lmin 0.15 wmin 0.42 compatible {sky130_fd_pr__nfet_01v8 sky130_fd_pr__nfet_01v8_lvt sky130_fd_bs_flash__special_sonosfet_star sky130_fd_pr__nfet_g5v0d10v5 sky130_fd_pr__nfet_05v0_nvt sky130_fd_pr__nfet_03v3_nvt} full_metal 1 viasrc 100 viadrn 100 viagate 100 viagb 0 viagr 0 viagl 0 viagt 0

# cell sky130_fd_pr__nfet_01v8_5MNGEB: kit device sky130_fd_pr__nfet_01v8, w 1 l 0.8 m 1 nf 2 diffcov 100 polycov 100 guard 0 glc 1 grc 1 gtc 1 gbc 1 tbcov 100 rlcov 100 topc 1 botc 1 poverlap 0 doverlap 1 lmin 0.15 wmin 0.42 compatible {sky130_fd_pr__nfet_01v8 sky130_fd_pr__nfet_01v8_lvt sky130_fd_bs_flash__special_sonosfet_star sky130_fd_pr__nfet_g5v0d10v5 sky130_fd_pr__nfet_05v0_nvt sky130_fd_pr__nfet_03v3_nvt} full_metal 1 viasrc 100 viadrn 100 viagate 70 viagb 0 viagr 0 viagl 0 viagt 0

# cell sky130_fd_pr__nfet_01v8_6H9P4D: kit device sky130_fd_pr__nfet_01v8, w 1 l 0.150 m 1 nf 1 diffcov 100 polycov 100 guard 0 glc 1 grc 1 gtc 1 gbc 1 tbcov 100 rlcov 100 topc 0 botc 0 poverlap 0 doverlap 1 lmin 0.15 wmin 0.42 compatible {sky130_fd_pr__nfet_01v8 sky130_fd_pr__nfet_01v8_lvt sky130_fd_bs_flash__special_sonosfet_star sky130_fd_pr__nfet_g5v0d10v5 sky130_fd_pr__nfet_05v0_nvt sky130_fd_pr__nfet_03v3_nvt} full_metal 1 viasrc 100 viadrn 100 viagate 100 viagb 0 viagr 0 viagl 0 viagt 0
